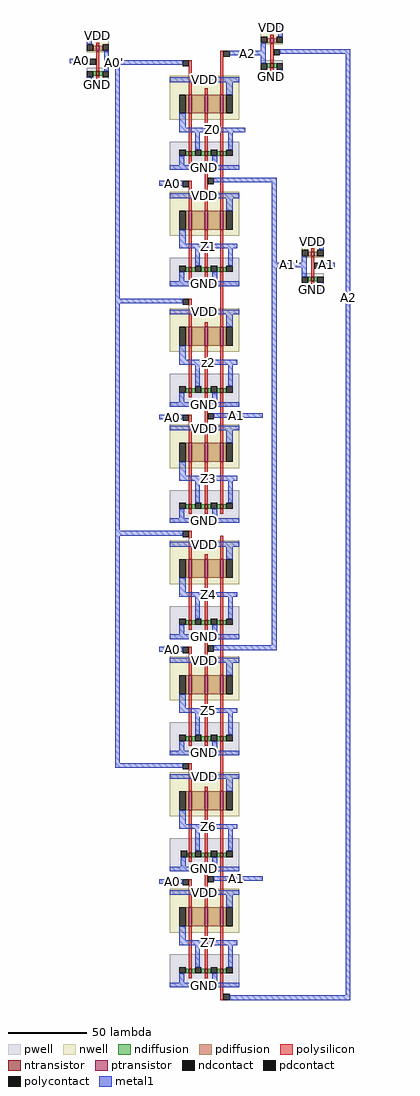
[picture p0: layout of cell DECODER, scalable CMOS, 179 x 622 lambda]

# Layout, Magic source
magic
tech scmos
<< pwell >>
rect -47 14 -33 27
rect 64 19 78 32
rect 6 -38 50 -20
rect 6 -112 50 -94
rect 90 -117 104 -104
rect 6 -189 50 -168
rect 6 -263 50 -242
rect 6 -337 50 -316
rect 6 -411 50 -390
rect 6 -485 50 -464
rect 6 -559 50 -538
<< nwell >>
rect -47 37 -33 50
rect 64 42 78 55
rect 6 -6 50 22
rect 6 -80 50 -52
rect 90 -94 104 -81
rect 6 -154 50 -126
rect 6 -228 50 -200
rect 6 -302 50 -274
rect 6 -376 50 -348
rect 6 -450 50 -422
rect 6 -524 50 -496
<< polysilicon >>
rect 70 46 72 48
rect -41 41 -39 43
rect -41 25 -39 38
rect -41 20 -39 22
rect 18 10 20 32
rect 28 10 30 14
rect 38 10 40 38
rect 70 30 72 43
rect 70 25 72 27
rect 18 -26 20 -2
rect 28 -26 30 -2
rect 38 -26 40 -2
rect 18 -34 20 -29
rect 18 -64 20 -45
rect 28 -64 30 -29
rect 38 -64 40 -29
rect 18 -100 20 -76
rect 28 -100 30 -76
rect 38 -100 40 -76
rect 96 -90 98 -88
rect 18 -108 20 -103
rect 28 -108 30 -103
rect 18 -138 20 -120
rect 28 -138 30 -135
rect 38 -138 40 -103
rect 96 -106 98 -93
rect 96 -111 98 -109
rect 18 -177 20 -150
rect 28 -177 30 -150
rect 38 -177 40 -150
rect 18 -183 20 -180
rect 18 -212 20 -194
rect 28 -212 30 -180
rect 38 -212 40 -180
rect 18 -251 20 -224
rect 28 -251 30 -224
rect 38 -251 40 -224
rect 18 -257 20 -254
rect 28 -257 30 -254
rect 38 -257 40 -254
rect 18 -286 20 -268
rect 28 -286 30 -283
rect 38 -286 40 -271
rect 18 -325 20 -298
rect 28 -325 30 -298
rect 38 -325 40 -298
rect 18 -331 20 -328
rect 18 -360 20 -342
rect 28 -360 30 -328
rect 38 -360 40 -328
rect 18 -399 20 -372
rect 28 -399 30 -372
rect 38 -399 40 -372
rect 18 -405 20 -402
rect 28 -405 30 -402
rect 18 -434 20 -416
rect 28 -434 30 -431
rect 38 -434 40 -402
rect 18 -473 20 -446
rect 28 -473 30 -446
rect 38 -473 40 -446
rect 18 -479 20 -476
rect 18 -508 20 -490
rect 28 -508 30 -476
rect 38 -508 40 -476
rect 18 -547 20 -520
rect 28 -547 30 -520
rect 38 -547 40 -520
rect 18 -553 20 -550
rect 28 -553 30 -550
rect 38 -567 40 -550
<< ndiffusion >>
rect -43 22 -41 25
rect -39 22 -37 25
rect 68 27 70 30
rect 72 27 74 30
rect 16 -29 18 -26
rect 20 -29 22 -26
rect 26 -29 28 -26
rect 30 -29 32 -26
rect 36 -29 38 -26
rect 40 -29 42 -26
rect 16 -103 18 -100
rect 20 -103 22 -100
rect 26 -103 28 -100
rect 30 -103 32 -100
rect 36 -103 38 -100
rect 40 -103 42 -100
rect 94 -109 96 -106
rect 98 -109 100 -106
rect 16 -180 18 -177
rect 20 -180 22 -177
rect 26 -180 28 -177
rect 30 -180 32 -177
rect 36 -180 38 -177
rect 40 -180 42 -177
rect 16 -254 18 -251
rect 20 -254 22 -251
rect 26 -254 28 -251
rect 30 -254 32 -251
rect 36 -254 38 -251
rect 40 -254 42 -251
rect 16 -328 18 -325
rect 20 -328 22 -325
rect 26 -328 28 -325
rect 30 -328 32 -325
rect 36 -328 38 -325
rect 40 -328 42 -325
rect 16 -402 18 -399
rect 20 -402 22 -399
rect 26 -402 28 -399
rect 30 -402 32 -399
rect 36 -402 38 -399
rect 40 -402 42 -399
rect 17 -476 18 -473
rect 20 -476 22 -473
rect 26 -476 28 -473
rect 30 -476 32 -473
rect 36 -476 38 -473
rect 40 -476 42 -473
rect 16 -550 18 -547
rect 20 -550 22 -547
rect 26 -550 28 -547
rect 30 -550 32 -547
rect 36 -550 38 -547
rect 40 -550 42 -547
<< pdiffusion >>
rect 68 43 70 46
rect 72 43 74 46
rect -43 38 -41 41
rect -39 38 -37 41
rect 16 -2 18 10
rect 20 -2 28 10
rect 30 -2 38 10
rect 40 -2 42 10
rect 16 -76 18 -64
rect 20 -76 28 -64
rect 30 -76 38 -64
rect 40 -76 42 -64
rect 94 -93 96 -90
rect 98 -93 100 -90
rect 16 -150 18 -138
rect 20 -150 28 -138
rect 30 -150 38 -138
rect 40 -150 42 -138
rect 16 -224 18 -212
rect 20 -224 28 -212
rect 30 -224 38 -212
rect 40 -224 42 -212
rect 16 -298 18 -286
rect 20 -298 28 -286
rect 30 -298 38 -286
rect 40 -298 42 -286
rect 16 -372 18 -360
rect 20 -372 28 -360
rect 30 -372 38 -360
rect 40 -372 42 -360
rect 16 -446 18 -434
rect 20 -446 28 -434
rect 30 -446 38 -434
rect 40 -446 42 -434
rect 16 -520 18 -508
rect 20 -520 28 -508
rect 30 -520 38 -508
rect 40 -520 42 -508
<< metal1 >>
rect 64 51 78 54
rect -47 46 -33 49
rect 75 47 78 51
rect -47 42 -44 46
rect 64 38 67 43
rect -58 30 -45 33
rect -36 32 -33 38
rect 44 35 67 38
rect 76 36 121 39
rect -36 29 14 32
rect -36 25 -33 29
rect -47 18 -44 21
rect -47 15 -33 18
rect -29 -120 -26 29
rect 64 30 67 35
rect 75 23 78 26
rect 6 18 50 21
rect 64 20 78 23
rect 42 10 46 18
rect 12 -11 16 -2
rect 12 -14 54 -11
rect 22 -25 25 -14
rect 43 -25 46 -14
rect 12 -35 15 -29
rect 33 -35 36 -29
rect 6 -38 50 -35
rect -1 -48 14 -45
rect 34 -46 74 -43
rect 6 -56 50 -53
rect 42 -64 46 -56
rect 12 -85 16 -76
rect 12 -88 49 -85
rect 22 -99 25 -88
rect 43 -99 46 -88
rect 71 -97 74 -46
rect 90 -85 104 -82
rect 101 -89 104 -85
rect 90 -97 93 -93
rect 71 -100 93 -97
rect 12 -109 15 -103
rect 33 -109 36 -103
rect 6 -112 50 -109
rect -29 -123 14 -120
rect -29 -268 -26 -123
rect 6 -130 50 -127
rect 42 -138 46 -130
rect 12 -159 16 -150
rect 12 -162 49 -159
rect 22 -176 25 -162
rect 43 -176 46 -162
rect 12 -186 15 -180
rect 33 -186 36 -180
rect 6 -189 50 -186
rect -1 -197 14 -194
rect 34 -196 65 -193
rect 6 -204 50 -201
rect 42 -212 46 -204
rect 12 -233 16 -224
rect 12 -236 49 -233
rect 22 -250 25 -236
rect 43 -250 46 -236
rect 12 -260 15 -254
rect 33 -260 36 -254
rect 6 -263 50 -260
rect -29 -271 14 -268
rect -29 -416 -26 -271
rect 6 -278 50 -275
rect 42 -286 46 -278
rect 12 -307 16 -298
rect 12 -310 49 -307
rect 22 -324 25 -310
rect 43 -324 46 -310
rect 12 -334 15 -328
rect 33 -334 36 -328
rect 6 -337 50 -334
rect 71 -341 74 -100
rect 90 -106 93 -100
rect 102 -100 111 -97
rect 101 -113 104 -110
rect 90 -116 104 -113
rect -1 -345 14 -342
rect 34 -344 74 -341
rect 6 -352 50 -349
rect 42 -360 46 -352
rect 12 -381 16 -372
rect 12 -384 49 -381
rect 22 -398 25 -384
rect 43 -398 46 -384
rect 12 -408 15 -402
rect 33 -408 36 -402
rect 6 -411 50 -408
rect -29 -419 14 -416
rect 6 -426 50 -423
rect 42 -434 46 -426
rect 12 -455 16 -446
rect 12 -458 49 -455
rect 22 -472 25 -458
rect 43 -472 46 -458
rect 13 -482 16 -476
rect 33 -482 36 -476
rect 6 -485 50 -482
rect -1 -493 14 -490
rect 34 -491 65 -488
rect 6 -500 50 -497
rect 42 -508 46 -500
rect 12 -529 16 -520
rect 12 -532 49 -529
rect 22 -546 25 -532
rect 43 -546 46 -532
rect 12 -556 15 -550
rect 33 -556 36 -550
rect 6 -559 50 -556
rect 118 -564 121 36
rect 44 -567 121 -564
<< ntransistor >>
rect -41 22 -39 25
rect 70 27 72 30
rect 18 -29 20 -26
rect 28 -29 30 -26
rect 38 -29 40 -26
rect 18 -103 20 -100
rect 28 -103 30 -100
rect 38 -103 40 -100
rect 96 -109 98 -106
rect 18 -180 20 -177
rect 28 -180 30 -177
rect 38 -180 40 -177
rect 18 -254 20 -251
rect 28 -254 30 -251
rect 38 -254 40 -251
rect 18 -328 20 -325
rect 28 -328 30 -325
rect 38 -328 40 -325
rect 18 -402 20 -399
rect 28 -402 30 -399
rect 38 -402 40 -399
rect 18 -476 20 -473
rect 28 -476 30 -473
rect 38 -476 40 -473
rect 18 -550 20 -547
rect 28 -550 30 -547
rect 38 -550 40 -547
<< ptransistor >>
rect 70 43 72 46
rect -41 38 -39 41
rect 18 -2 20 10
rect 28 -2 30 10
rect 38 -2 40 10
rect 18 -76 20 -64
rect 28 -76 30 -64
rect 38 -76 40 -64
rect 96 -93 98 -90
rect 18 -150 20 -138
rect 28 -150 30 -138
rect 38 -150 40 -138
rect 18 -224 20 -212
rect 28 -224 30 -212
rect 38 -224 40 -212
rect 18 -298 20 -286
rect 28 -298 30 -286
rect 38 -298 40 -286
rect 18 -372 20 -360
rect 28 -372 30 -360
rect 38 -372 40 -360
rect 18 -446 20 -434
rect 28 -446 30 -434
rect 38 -446 40 -434
rect 18 -520 20 -508
rect 28 -520 30 -508
rect 38 -520 40 -508
<< polycontact >>
rect -45 29 -41 33
rect 14 28 18 32
rect 40 34 44 38
rect 72 35 76 39
rect 14 -49 18 -45
rect 30 -47 34 -43
rect 14 -124 18 -120
rect 98 -101 102 -97
rect 14 -198 18 -194
rect 30 -197 34 -193
rect 14 -272 18 -268
rect 14 -346 18 -342
rect 30 -345 34 -341
rect 14 -420 18 -416
rect 14 -494 18 -490
rect 30 -492 34 -488
rect 40 -567 44 -563
<< ndcontact >>
rect -47 21 -43 25
rect -37 21 -33 25
rect 64 26 68 30
rect 74 26 78 30
rect 12 -29 16 -25
rect 22 -29 26 -25
rect 32 -29 36 -25
rect 42 -29 46 -25
rect 12 -103 16 -99
rect 22 -103 26 -99
rect 32 -103 36 -99
rect 42 -103 46 -99
rect 90 -110 94 -106
rect 100 -110 104 -106
rect 12 -180 16 -176
rect 22 -180 26 -176
rect 32 -180 36 -176
rect 42 -180 46 -176
rect 12 -254 16 -250
rect 22 -254 26 -250
rect 32 -254 36 -250
rect 42 -254 46 -250
rect 12 -328 16 -324
rect 22 -328 26 -324
rect 32 -328 36 -324
rect 42 -328 46 -324
rect 12 -402 16 -398
rect 22 -402 26 -398
rect 32 -402 36 -398
rect 42 -402 46 -398
rect 13 -476 17 -472
rect 22 -476 26 -472
rect 32 -476 36 -472
rect 42 -476 46 -472
rect 12 -550 16 -546
rect 22 -550 26 -546
rect 32 -550 36 -546
rect 42 -550 46 -546
<< pdcontact >>
rect 64 43 68 47
rect 74 43 78 47
rect -47 38 -43 42
rect -37 38 -33 42
rect 12 -2 16 10
rect 42 -2 46 10
rect 12 -76 16 -64
rect 42 -76 46 -64
rect 90 -93 94 -89
rect 100 -93 104 -89
rect 12 -150 16 -138
rect 42 -150 46 -138
rect 12 -224 16 -212
rect 42 -224 46 -212
rect 12 -298 16 -286
rect 42 -298 46 -286
rect 12 -372 16 -360
rect 42 -372 46 -360
rect 12 -446 16 -434
rect 42 -446 46 -434
rect 12 -520 16 -508
rect 42 -520 46 -508
<< labels >>
rlabel metal1 6 -38 50 -35 5 GND
rlabel metal1 6 18 50 21 1 VDD
rlabel metal1 6 -56 50 -53 1 VDD
rlabel metal1 6 -130 50 -127 1 VDD
rlabel metal1 6 -204 50 -201 1 VDD
rlabel metal1 6 -278 50 -275 1 VDD
rlabel metal1 6 -352 50 -349 1 VDD
rlabel metal1 6 -426 50 -423 1 VDD
rlabel metal1 6 -500 50 -497 1 VDD
rlabel metal1 6 -559 50 -556 5 GND
rlabel metal1 6 -485 50 -482 5 GND
rlabel metal1 6 -411 50 -408 5 GND
rlabel metal1 6 -337 50 -334 5 GND
rlabel metal1 6 -263 50 -260 5 GND
rlabel metal1 6 -189 50 -186 5 GND
rlabel metal1 6 -112 50 -109 5 GND
rlabel metal1 -47 46 -33 49 1 VDD
rlabel metal1 -47 15 -33 18 5 GND
rlabel metal1 64 51 78 54 1 VDD
rlabel metal1 64 20 78 23 5 GND
rlabel metal1 44 35 67 38 5 A2
rlabel metal1 44 35 67 38 5 A2'
rlabel metal1 118 -278 121 39 3 A2
rlabel metal1 -58 30 -43 33 5 A0
rlabel metal1 -36 29 -23 32 1 A0'
rlabel metal1 -1 -493 16 -490 1 A0
rlabel metal1 -1 -345 16 -342 1 A0
rlabel metal1 -1 -197 16 -194 1 A0
rlabel metal1 -1 -48 16 -45 1 A0
rlabel metal1 32 -196 65 -193 1 A1
rlabel metal1 32 -491 65 -488 1 A1
rlabel metal1 71 -100 93 -97 1 A1'
rlabel metal1 100 -100 111 -97 1 A1
rlabel metal1 90 -116 104 -113 5 GND
rlabel metal1 90 -85 104 -82 1 VDD
rlabel metal1 12 -14 54 -11 3 Z0
rlabel metal1 12 -88 49 -85 3 Z1
rlabel metal1 12 -162 49 -159 3 z2
rlabel metal1 12 -236 49 -233 3 Z3
rlabel metal1 12 -310 49 -307 3 Z4
rlabel metal1 12 -384 49 -381 3 Z5
rlabel metal1 12 -458 49 -455 3 Z6
rlabel metal1 12 -532 49 -529 3 Z7
<< end >>
